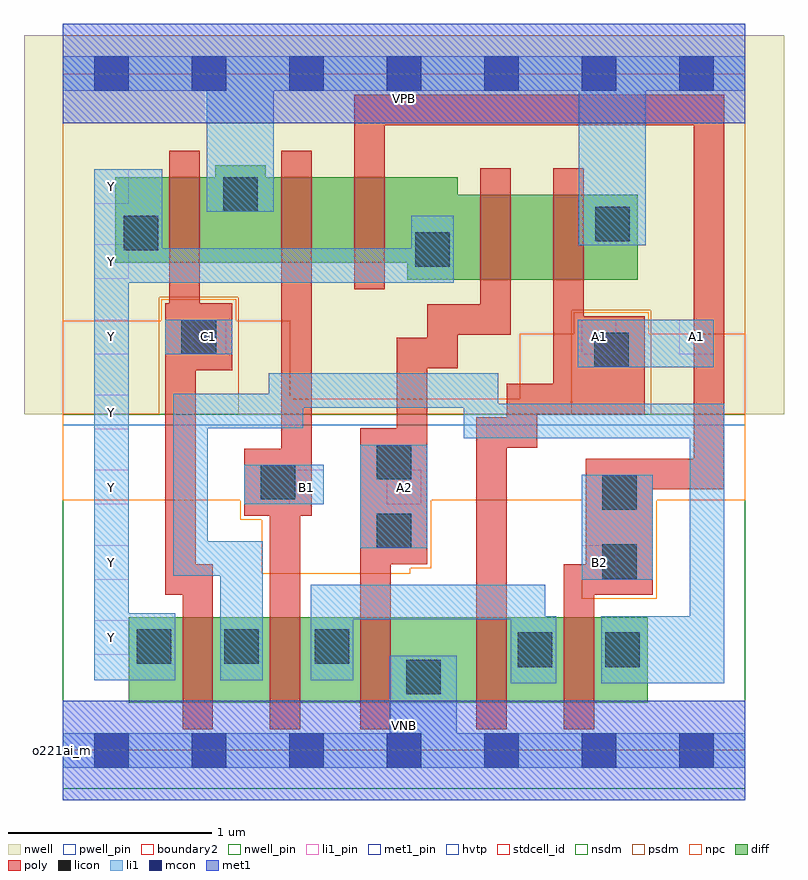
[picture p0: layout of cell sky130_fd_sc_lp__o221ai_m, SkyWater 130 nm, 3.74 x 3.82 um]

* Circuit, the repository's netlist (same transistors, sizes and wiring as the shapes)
* Copyright 2020 The SkyWater PDK Authors
*
* Licensed under the Apache License, Version 2.0 (the "License");
* you may not use this file except in compliance with the License.
* You may obtain a copy of the License at
*
*     https://www.apache.org/licenses/LICENSE-2.0
*
* Unless required by applicable law or agreed to in writing, software
* distributed under the License is distributed on an "AS IS" BASIS,
* WITHOUT WARRANTIES OR CONDITIONS OF ANY KIND, either express or implied.
* See the License for the specific language governing permissions and
* limitations under the License.
*
* SPDX-License-Identifier: Apache-2.0

.SUBCKT sky130_fd_sc_lp__o221ai_m A1 A2 B1 B2 C1 VGND VNB VPB VPWR Y
*.PININFO A1:I A2:I B1:I B2:I C1:I VGND:I VNB:I VPB:I VPWR:I Y:O
MMPA0 VPWR A1 sndA1 VPB sky130_fd_pr__pfet_01v8_hvt m=1 w=0.42U l=0.15U mult=1
+ sa=0.265 sb=0.265 sd=0.28 area=0.063 perim=1.14
MMPA1 sndA1 A2 Y VPB sky130_fd_pr__pfet_01v8_hvt m=1 w=0.42U l=0.15U mult=1 sa=0.265
+ sb=0.265 sd=0.28 area=0.063 perim=1.14
MMPB0 VPWR B1 sndB1 VPB sky130_fd_pr__pfet_01v8_hvt m=1 w=0.42U l=0.15U mult=1
+ sa=0.265 sb=0.265 sd=0.28 area=0.063 perim=1.14
MMPB1 sndB1 B2 Y VPB sky130_fd_pr__pfet_01v8_hvt m=1 w=0.42U l=0.15U mult=1 sa=0.265
+ sb=0.265 sd=0.28 area=0.063 perim=1.14
MMPC0 VPWR C1 Y VPB sky130_fd_pr__pfet_01v8_hvt m=1 w=0.42U l=0.15U mult=1 sa=0.265
+ sb=0.265 sd=0.28 area=0.063 perim=1.14
MMNA0 pndA A1 VGND VNB sky130_fd_pr__nfet_01v8 m=1 w=0.42U l=0.15U mult=1 sa=0.265
+ sb=0.265 sd=0.28 area=0.063 perim=1.14
MMNA1 pndA A2 VGND VNB sky130_fd_pr__nfet_01v8 m=1 w=0.42U l=0.15U mult=1 sa=0.265
+ sb=0.265 sd=0.28 area=0.063 perim=1.14
MMNB0 pndB B1 pndA VNB sky130_fd_pr__nfet_01v8 m=1 w=0.42U l=0.15U mult=1 sa=0.265
+ sb=0.265 sd=0.28 area=0.063 perim=1.14
MMNB1 pndB B2 pndA VNB sky130_fd_pr__nfet_01v8 m=1 w=0.42U l=0.15U mult=1 sa=0.265
+ sb=0.265 sd=0.28 area=0.063 perim=1.14
MMNC0 Y C1 pndB VNB sky130_fd_pr__nfet_01v8 m=1 w=0.42U l=0.15U mult=1 sa=0.265
+ sb=0.265 sd=0.28 area=0.063 perim=1.14
.ENDS sky130_fd_sc_lp__o221ai_m

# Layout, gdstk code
import gdstk
lib = gdstk.Library(unit=1e-6, precision=1e-09)
def R(c, l, rs):  # rectangles x0, y0, x1, y1
    for r in rs: c.add(gdstk.rectangle(r[:2], r[2:], *l))
def A(c, l, x, y, w, h, nx, ny, dx, dy):  # array of equal rectangles
    R(c, l, [(x+i*dx, y+j*dy, x+i*dx+w, y+j*dy+h) for i in range(nx) for j in range(ny)])
def P(c, l, *ps):  # polygons
    for p in ps: c.add(gdstk.Polygon(p, *l))
nwell_pin = (64, 16)
nwell = (64, 20)
diff = (65, 20)
poly = (66, 20)
licon = (66, 44)
li1_pin = (67, 16)
li1 = (67, 20)
mcon = (67, 44)
met1_pin = (68, 16)
met1 = (68, 20)
hvtp = (78, 44)
stdcell_id = (81, 4)
nsdm = (93, 44)
psdm = (94, 20)
npc = (95, 20)
pwell_pin = (122, 16)
boundary2 = (236, 0)

sky130_fd_sc_lp__o221ai_ = lib.new_cell('sky130_fd_sc_lp__o221ai_m')
R(sky130_fd_sc_lp__o221ai_, nwell_pin, [(0,3.085,3.36,3.33)])
R(sky130_fd_sc_lp__o221ai_, nwell, [(-0.19,1.655,3.55,3.52)])
R(sky130_fd_sc_lp__o221ai_, diff, [(0.325,0.235,2.88,0.655)])
P(sky130_fd_sc_lp__o221ai_, diff, [(2.83,2.735),(1.945,2.735),(1.945,2.82),(1,2.82),(1,2.88),(0.75,2.88),(0.75,2.82),(0.26,2.82),(0.26,2.4),(1.695,2.4),(1.695,2.315),(2.83,2.315)])
P(sky130_fd_sc_lp__o221ai_, poly, [(0.835,2.2),(0.675,2.2),(0.675,2.95),(0.525,2.95),(0.525,2.2),(0.505,2.2),(0.505,0.765),(0.59,0.765),(0.59,0.105),(0.74,0.105),(0.74,0.915),(0.655,0.915),(0.655,1.87),(0.835,1.87)],
  [(1.225,2.95),(1.075,2.95),(1.075,1.485),(0.895,1.485),(0.895,1.155),(1.02,1.155),(1.02,0.105),(1.17,0.105),(1.17,1.155),(1.225,1.155)],
  [(2.205,2.865),(2.055,2.865),(2.055,2.195),(1.795,2.195),(1.795,2.03),(1.645,2.03),(1.645,1.585),(1.465,1.585),(1.465,0.105),(1.615,0.105),(1.615,0.915),(1.795,0.915),(1.795,1.88),(1.945,1.88),(1.945,2.045),(2.205,2.045)],
  [(2.865,2.135),(2.565,2.135),(2.565,2.865),(2.415,2.865),(2.415,1.805),(2.185,1.805),(2.185,1.64),(2.035,1.64),(2.035,0.105),(2.185,0.105),(2.185,1.49),(2.335,1.49),(2.335,1.655),(2.865,1.655)],
  [(3.255,3.225),(1.435,3.225),(1.435,2.27),(1.585,2.27),(1.585,3.075),(3.105,3.075),(3.105,1.435),(2.575,1.435),(2.575,0.915),(2.465,0.915),(2.465,0.105),(2.615,0.105),(2.615,0.765),(2.905,0.765),(2.905,1.285),(3.255,1.285)])
R(sky130_fd_sc_lp__o221ai_, licon, [(1.69,0.275,1.86,0.445), (2.24,0.41,2.41,0.58), (2.67,0.41,2.84,0.58), (0.365,0.425,0.535,0.595), (0.795,0.425,0.965,0.595), (1.24,0.425,1.41,0.595), (2.655,0.845,2.825,1.015), (1.545,0.995,1.715,1.165), (2.655,1.185,2.825,1.355), (0.975,1.235,1.145,1.405), (1.545,1.335,1.715,1.505), (2.615,1.885,2.785,2.055), (0.585,1.95,0.755,2.12), (1.735,2.38,1.905,2.55), (0.3,2.46,0.47,2.63), (2.62,2.505,2.79,2.675), (0.79,2.65,0.96,2.82)])
A(sky130_fd_sc_lp__o221ai_, li1_pin, 0.155, 0.47, 0.17, 0.17, 1, 7, 0, 0.37)
R(sky130_fd_sc_lp__o221ai_, li1_pin, [(2.555,0.84,2.725,1.01), (1.115,1.21,1.285,1.38), (1.595,1.21,1.765,1.38), (0.635,1.95,0.805,2.12), (2.555,1.95,2.725,2.12), (3.035,1.95,3.205,2.12)])
R(sky130_fd_sc_lp__o221ai_, li1, [(2.555,0.84,2.905,1.355), (1.465,0.995,1.795,1.505), (0.895,1.21,1.285,1.405), (2.535,1.885,3.205,2.12), (0.505,1.95,0.835,2.12)])
P(sky130_fd_sc_lp__o221ai_, li1, [(0.71,2.65),(0.71,3.245),(0,3.245),(0,3.415),(3.36,3.415),(3.36,3.245),(2.87,3.245),(2.87,2.485),(2.54,2.485),(2.54,3.245),(1.04,3.245),(1.04,2.65)],
  [(1.61,0.085),(1.61,0.465),(1.94,0.465),(1.94,0.085),(3.36,0.085),(3.36,-0.085),(0,-0.085),(0,0.085)],
  [(0.49,2.47),(1.715,2.47),(1.715,2.63),(1.925,2.63),(1.925,2.3),(0.325,2.3),(0.325,0.675),(0.555,0.675),(0.555,0.345),(0.155,0.345),(0.155,2.86),(0.49,2.86)],
  [(3.085,0.66),(3.085,1.535),(1.975,1.535),(1.975,1.685),(1.185,1.685),(1.185,1.585),(0.715,1.585),(0.715,1.03),(0.985,1.03),(0.985,0.345),(0.775,0.345),(0.775,0.86),(0.545,0.86),(0.545,1.755),(1.015,1.755),(1.015,1.855),(2.145,1.855),(2.145,1.705),(3.255,1.705),(3.255,0.33),(2.65,0.33),(2.65,0.66)],
  [(2.205,0.33),(2.205,0.645),(1.43,0.645),(1.43,0.345),(1.22,0.345),(1.22,0.815),(2.375,0.815),(2.375,0.66),(2.43,0.66),(2.43,0.33)])
A(sky130_fd_sc_lp__o221ai_, mcon, 0.155, -0.085, 0.17, 0.17, 7, 2, 0.48, 3.33)
R(sky130_fd_sc_lp__o221ai_, met1_pin, [(0,0,3.36,0.245), (0,3.085,3.36,3.33)])
R(sky130_fd_sc_lp__o221ai_, met1, [(0,-0.245,3.36,0.245), (0,3.085,3.36,3.575)])
R(sky130_fd_sc_lp__o221ai_, hvtp, [(0,1.6,3.36,3.33)])
R(sky130_fd_sc_lp__o221ai_, stdcell_id, [(0,0,3.36,3.33)])
R(sky130_fd_sc_lp__o221ai_, nsdm, [(0,-0.19,3.36,1.655)])
P(sky130_fd_sc_lp__o221ai_, psdm, [(3.36,3.52),(0,3.52),(0,1.655),(0.475,1.655),(0.475,2.23),(0.865,2.23),(0.865,1.655),(2.505,1.655),(2.505,2.165),(2.895,2.165),(2.895,1.655),(3.36,1.655)])
P(sky130_fd_sc_lp__o221ai_, npc, [(3.36,2.05),(2.885,2.05),(2.885,2.155),(2.515,2.155),(2.515,2.05),(2.25,2.05),(2.25,1.73),(1.12,1.73),(1.12,2.115),(0.855,2.115),(0.855,2.22),(0.485,2.22),(0.485,2.115),(0,2.115),(0,1.23),(0.875,1.23),(0.875,1.135),(0.98,1.135),(0.98,0.87),(1.71,0.87),(1.71,0.895),(1.815,0.895),(1.815,1.23),(2.555,1.23),(2.555,0.745),(2.925,0.745),(2.925,1.23),(3.36,1.23)])
R(sky130_fd_sc_lp__o221ai_, pwell_pin, [(0,0,3.36,0.245)])
R(sky130_fd_sc_lp__o221ai_, boundary2, [(0,0,3.36,3.33)])
sky130_fd_sc_lp__o221ai_.add(gdstk.Label('VNB', (1.68,0.123), layer=64, texttype=59))
sky130_fd_sc_lp__o221ai_.add(gdstk.Label('VPB', (1.68,3.208), layer=64, texttype=5))
sky130_fd_sc_lp__o221ai_.add(gdstk.Label('o221ai_m', (0,0), layer=83, texttype=44))
sky130_fd_sc_lp__o221ai_.add(gdstk.Label('VPWR', (1.68,3.208), layer=68, texttype=5))
sky130_fd_sc_lp__o221ai_.add(gdstk.Label('VGND', (1.68,0.123), layer=68, texttype=5))
sky130_fd_sc_lp__o221ai_.add(gdstk.Label('A1', (2.64,2.035), layer=67, texttype=5))
sky130_fd_sc_lp__o221ai_.add(gdstk.Label('A1', (3.12,2.035), layer=67, texttype=5))
sky130_fd_sc_lp__o221ai_.add(gdstk.Label('A2', (1.68,1.295), layer=67, texttype=5))
sky130_fd_sc_lp__o221ai_.add(gdstk.Label('B1', (1.2,1.295), layer=67, texttype=5))
sky130_fd_sc_lp__o221ai_.add(gdstk.Label('B2', (2.64,0.925), layer=67, texttype=5))
sky130_fd_sc_lp__o221ai_.add(gdstk.Label('C1', (0.72,2.035), layer=67, texttype=5))
sky130_fd_sc_lp__o221ai_.add(gdstk.Label('Y', (0.24,0.555), layer=67, texttype=5))
sky130_fd_sc_lp__o221ai_.add(gdstk.Label('Y', (0.24,0.925), layer=67, texttype=5))
sky130_fd_sc_lp__o221ai_.add(gdstk.Label('Y', (0.24,1.295), layer=67, texttype=5))
sky130_fd_sc_lp__o221ai_.add(gdstk.Label('Y', (0.24,1.665), layer=67, texttype=5))
sky130_fd_sc_lp__o221ai_.add(gdstk.Label('Y', (0.24,2.035), layer=67, texttype=5))
sky130_fd_sc_lp__o221ai_.add(gdstk.Label('Y', (0.24,2.405), layer=67, texttype=5))
sky130_fd_sc_lp__o221ai_.add(gdstk.Label('Y', (0.24,2.775), layer=67, texttype=5))

lib.write_gds('sky130_fd_sc_lp__o221ai_m.gds')
